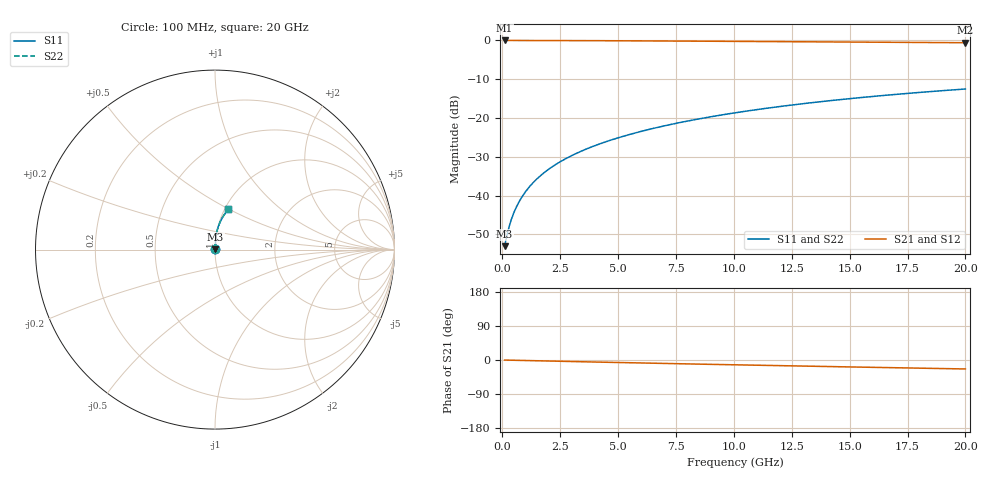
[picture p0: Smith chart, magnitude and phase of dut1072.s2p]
! Touchstone file exported from HFSS 2024.1.0
!  File:  C:/UserFiles/LocalFiles/RDL_TSV_Batchsim/temp_RDL_bottom_1072_1780052830.aedt
!  Generated:  07:09:39 PM May 29, 2026
!  Design:  RDL_bottom
!  Project:  temp_RDL_bottom_1072_1780052830
!  Setup:  Setup1
!  Solution:  Sweep
! Variables:
!  dtsv = 10.80580581um
!  hbump = 3um
!  htsv = 81.06um
!  ldown = 325.78um
!  lrdl = 100um
!  p = 40
!  p1 = 42.76um
!  rhole = 1um
!  t = 450um
!  tdown = 3.44um
!  trdl = 3.915915916um
!  wdown = 20.06um
!  wrdl = 20um
# GHz S MA R 50.000000
! Terminal data exported
! Port[1] = RDL1_T1
! Port[2] = RDL1_T2
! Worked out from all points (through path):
!   200 points, 100 MHz to 20 GHz, reference 50 ohm
!   highest |S21| = -0.02 dB at 100 MHz (marker M1); lowest = -0.6 dB at 20 GHz (marker M2)
!   group delay of S21, straight-line fit = 3.26 ps
!   lowest |S11| = -53.0 dB at 100 MHz (marker M3), VSWR 1.00, Z = 50.2 + j0.12 ohm
!   |S11| at or under -10 dB: start of sweep to end of sweep
!   |S22| runs from -53.0 to -12.5 dB; largest |S21 - S12| = 2.6e-15
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0.1  0.002227 32.4  0.9981 -0.1  0.9981 -0.1  0.002227 32.4
! Gamma 0 0 0 0
! Port Impedance 50 0 50 0
0.2  0.003059 50.3  0.998 -0.3  0.998 -0.3  0.003059 50.3
0.3  0.004022 59.6  0.9979 -0.4  0.9979 -0.4  0.004022 59.6
0.4  0.005018 65.1  0.9978 -0.6  0.9978 -0.6  0.005018 65.1
0.5  0.006024 68.9  0.9977 -0.7  0.9977 -0.7  0.006024 68.9
0.6  0.007037 71.6  0.9976 -0.8  0.9976 -0.8  0.007037 71.6
0.8  0.009087 75.5  0.9975 -1.1  0.9975 -1.1  0.009087 75.5
1.1  0.01221 79.0  0.9972 -1.5  0.9972 -1.5  0.01221 79.0
1.3  0.01432 80.5  0.997 -1.8  0.997 -1.8  0.01432 80.5
1.6  0.01751 82.1  0.9966 -2.2  0.9966 -2.2  0.01751 82.1
2.1  0.0229 83.8  0.9959 -2.8  0.9959 -2.8  0.0229 83.8
2.7  0.02946 84.9  0.9948 -3.6  0.9948 -3.6  0.02946 84.9
3.5  0.03835 85.7  0.9931 -4.7  0.9931 -4.7  0.03835 85.7
4.2  0.04627 86.0  0.9913 -5.6  0.9913 -5.6  0.04627 86.0
5  0.05548 86.1  0.989 -6.6  0.989 -6.6  0.05548 86.0
5.9  0.06604 85.8  0.9861 -7.8  0.9861 -7.8  0.06604 85.8
6.8  0.07678 85.4  0.9831 -8.9  0.9831 -8.9  0.07678 85.4
8.4  0.09623 84.3  0.9774 -10.8  0.9774 -10.8  0.09622 84.3
10.1  0.1172 82.8  0.9711 -12.8  0.9711 -12.8  0.1172 82.8
13.4  0.158 79.3  0.9587 -16.5  0.9587 -16.5  0.1579 79.3
16.7  0.1979 75.5  0.9461 -20.1  0.9461 -20.1  0.1979 75.5
20  0.2363 71.7  0.9333 -23.7  0.9333 -23.7  0.2363 71.7
